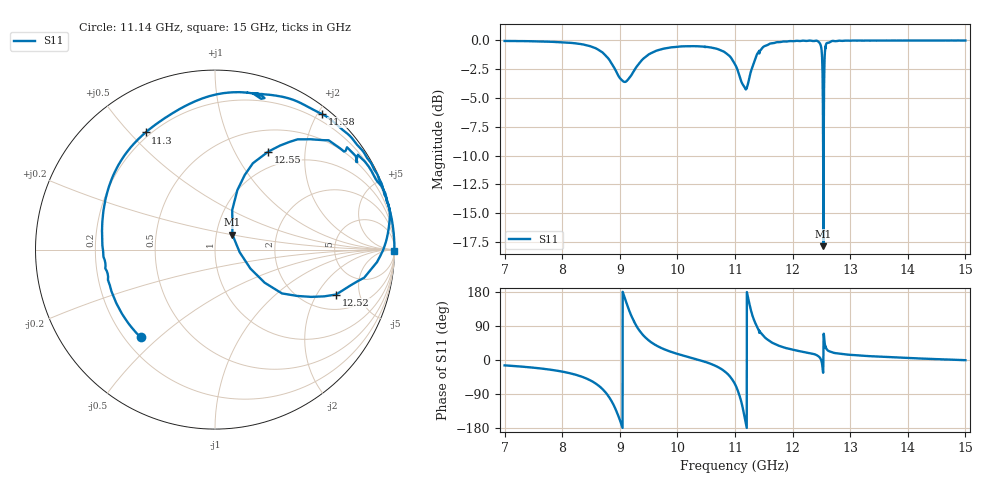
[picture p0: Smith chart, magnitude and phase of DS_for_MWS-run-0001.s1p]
! TOUCHSTONE file generated by CST DESIGN STUDIO
! Date and time: Mon Feb 10 16:57:04 2025
! Project name: C:\Work\MatlabApps\UnitCellType2OptimizationMatlab\CST\unitcell.cst
! Tree item: Tasks\Sweep1\SPara1\S-Parameters
! Header version: 2024
! Port assignment regex: !\s*Touchstone port\s*([0-9]+)\s*=\s*(CST MWS port|CST DES external port|CST DES block port)\s*(.+)\s* \(\"(.*)\"\)(\s*mode\s*([0-9]+))?.*
! Touchstone port assignment:
! Touchstone port 1 = CST DES external port 1 ("")
# GHz S MA R 50
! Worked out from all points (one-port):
!   4001 points, 7 GHz to 15 GHz, reference 50 ohm
!   lowest |S11| = -17.9 dB at 12.54 GHz (marker M1), VSWR 1.29, Z = 59.8 + j10.2 ohm
!   |S11| at or under -10 dB: 12.53026 GHz to 12.53942 GHz (9.16 MHz wide, 0.0731 % of centre)
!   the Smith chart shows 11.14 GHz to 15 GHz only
!   S11 on the Smith chart (normalised r, x): 11.14 GHz: 0.26, -0.44; 11.3 GHz: 0.18, +0.56; 11.58 GHz: 0.10, +2.06; 12.52 GHz: 2.86, -2.97; 12.55 GHz: 0.78, +1.38; 15 GHz: open
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7  0.9951 -14.2
8  0.9826 -30.6
8.452  0.95 -51.0
8.744  0.8651 -84.0
8.88  0.7775 -114.9
9  0.6874 -157.8
9.164  0.6873 130.1
9.298  0.7726 87.4
9.574  0.8887 43.8
10  0.9397 16.1
10.698  0.918 -18.2
11  0.7879 -63.6
11.14  0.6408 -130.3
11.216  0.6359 172.0
11.296  0.7587 120.6
11.396  0.8825 83.4
11.584  0.9621 51.8
12  0.9924 27.1
12.456  0.9839 9.0
12.496  0.9361 -0.2
12.52  0.7196 -20.4
12.536  0.1279 40.8
12.546  0.6206 61.5
12.58  0.9597 32.4
12.632  0.9786 23.3
13  0.9974 13.7
14  0.9989 5.3
15  0.9995 -0.5
